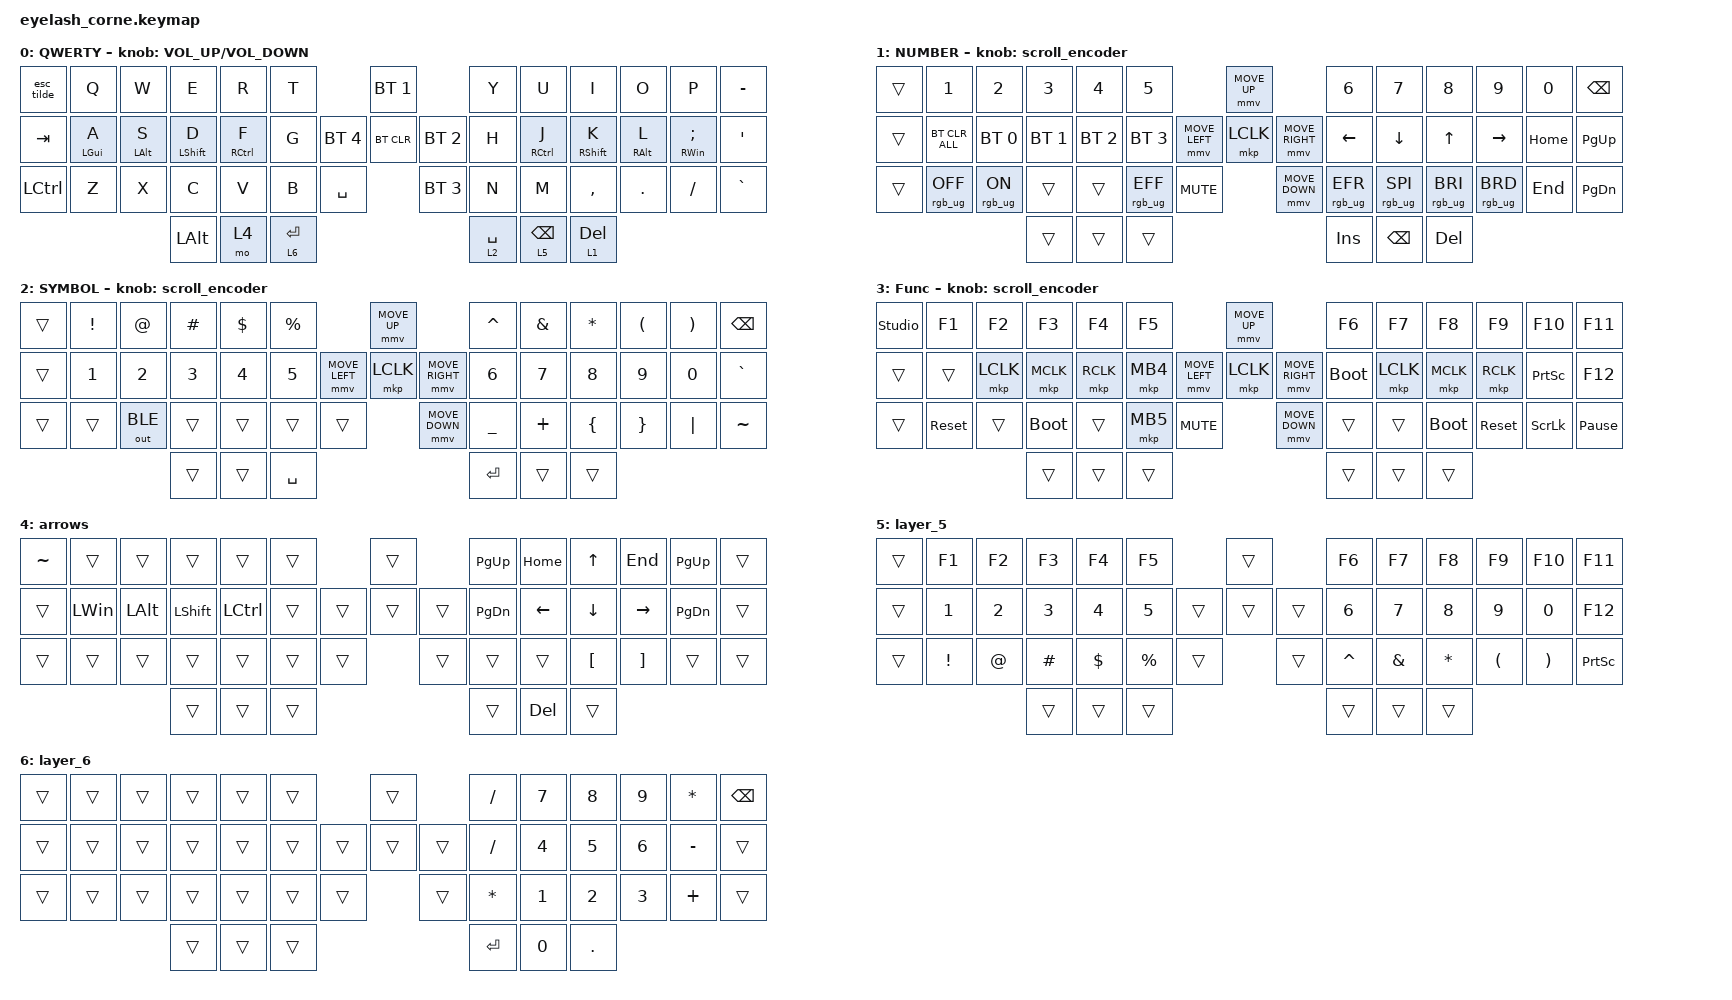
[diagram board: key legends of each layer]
#define ZMK_POINTING_DEFAULT_MOVE_VAL 1200  // 600
#define ZMK_POINTING_DEFAULT_SCRL_VAL 25   // 10

#include <input/processors.dtsi>
#include <zephyr/dt-bindings/input/input-event-codes.h>
#include <behaviors.dtsi>
#include <dt-bindings/zmk/bt.h>
#include <dt-bindings/zmk/keys.h>
#include <dt-bindings/zmk/outputs.h>
#include <dt-bindings/zmk/pointing.h>
#include <dt-bindings/zmk/rgb.h>

&mmv_input_listener { input-processors = <&zip_xy_scaler 2 1>; };

&msc_input_listener { input-processors = <&zip_scroll_scaler 2 1>; };

&msc {
    acceleration-exponent = <1>;      // 0
    time-to-max-speed-ms = <100>;       // 300
    delay-ms = <0>;                   // 0
};

&mmv {
    time-to-max-speed-ms = <500>;
    acceleration-exponent = <1>;
    trigger-period-ms = <16>;
};

/ {
    behaviors {
        SHIFTCAPS: SHIFTCAPS {
            compatible = "zmk,behavior-tap-dance";
            display-name = "Shift/Caps Lock Tap Dance";
            #binding-cells = <0>;
            bindings = <&kp LEFT_SHIFT>, <&kp CAPS>;

            label = "SHIFTCAPS";
        };

        HMR: HMR {
            compatible = "zmk,behavior-hold-tap";
            label = "HMR";
            bindings = <&kp>, <&kp>;

            #binding-cells = <2>;
            tapping-term-ms = <280>;
            quick-tap-ms = <175>;
            require-prior-idle-ms = <150>;
            flavor = "tap-preferred";
            hold-trigger-key-positions = <0 1 2 3 4 5 13 14 15 16 17 18 28 29 30 31 32 33 34 42 43 44 45 46 47>;
        };

        HML: HML {
            compatible = "zmk,behavior-hold-tap";
            label = "HML";
            bindings = <&kp>, <&kp>;

            #binding-cells = <2>;
            tapping-term-ms = <280>;
            quick-tap-ms = <175>;
            require-prior-idle-ms = <150>;
            flavor = "tap-preferred";
            hold-trigger-key-positions = <23 24 25 37 38 39 46 47 7 8 9 10 11 12 22 23 24 25 26 27 36 37 38 39 40 41 45 46 47>;
        };

        bspc_del: backspace_delete {
            compatible = "zmk,behavior-mod-morph";
            label = "BACKSPACE_DELETE";
            #binding-cells = <0>;
            bindings = <&kp BACKSPACE>, <&kp DELETE>;

            mods = <(MOD_LSFT|MOD_RSFT)>;
        };

        esc_tilde: escape_tilde {
            compatible = "zmk,behavior-mod-morph";
            label = "ESCAPE_TILDE";
            #binding-cells = <0>;
            bindings = <&kp ESCAPE>, <&kp TILDE>;

            mods = <(MOD_LSFT|MOD_RSFT)>;
        };
    };

    rgb_encoder: rgb_encoder {
        compatible = "zmk,behavior-sensor-rotate";
        #sensor-binding-cells = <0>;
        bindings = <&rgb_ug RGB_BRI>, <&rgb_ug RGB_BRD>;
    };

    scroll_encoder: scroll_encoder {
        compatible = "zmk,behavior-sensor-rotate";
        #sensor-binding-cells = <0>;
        bindings = <&msc SCRL_DOWN>, <&msc SCRL_UP>;

        tap-ms = <100>;
    };

    combos {
        compatible = "zmk,combos";

        gravetilde {
            bindings = <&kp GRAVE>;
            key-positions = <0 1>;
            require-prior-idle-ms = <150>;
        };

        lparen {
            bindings = <&kp LEFT_PARENTHESIS>;
            key-positions = <4 3>;
            require-prior-idle-ms = <150>;
        };

        lbrace {
            bindings = <&kp LEFT_BRACE>;
            key-positions = <4 5>;
            require-prior-idle-ms = <150>;
        };

        lbracket {
            bindings = <&kp LEFT_BRACKET>;
            key-positions = <31 32>;
            require-prior-idle-ms = <150>;
        };

        rparen {
            bindings = <&kp RIGHT_PARENTHESIS>;
            key-positions = <8 9>;
            require-prior-idle-ms = <150>;
        };

        rbrace {
            bindings = <&kp RIGHT_BRACE>;
            key-positions = <8 7>;
            require-prior-idle-ms = <150>;
        };

        rbracket {
            bindings = <&kp RIGHT_BRACKET>;
            key-positions = <37 38>;
            require-prior-idle-ms = <150>;
        };

        tildecombo {
            bindings = <&kp TILDE>;
            key-positions = <14 13>;
            require-prior-idle-ms = <150>;
        };

        combopipe {
            bindings = <&kp BACKSLASH>;
            key-positions = <26 27>;
            require-prior-idle-ms = <150>;
        };

        comboplusequals {
            bindings = <&kp EQUAL>;
            key-positions = <11 12>;
            require-prior-idle-ms = <150>;
        };

        alt_tab {
            bindings = <&kp LA(TAB)>;
            key-positions = <0 42>;
        };

        caps_word_combo {
            bindings = <&caps_word>;
            key-positions = <44 45>;
        };

        leftshiftbrace {
            bindings = <&kp LS(LEFT_BRACE)>;
            key-positions = <32 33>;
            require-prior-idle-ms = <150>;
        };

        rightshiftbrace {
            bindings = <&kp RS(RIGHT_BRACE)>;
            key-positions = <36 37>;
            require-prior-idle-ms = <150>;
        };

        printscree {
            bindings = <&kp PRINTSCREEN>;
            key-positions = <43 46>;
        };
    };

    keymap {
        compatible = "zmk,keymap";

        default_layer {
            display-name = "QWERTY";
            bindings = <
&esc_tilde        &kp Q            &kp W            &kp E              &kp R                 &kp T                                   &bt BT_SEL 1                &kp Y        &kp U                 &kp I               &kp O             &kp P                &kp MINUS
&kp TAB           &HML LEFT_GUI A  &HML LEFT_ALT S  &HML LEFT_SHIFT D  &HML RIGHT_CONTROL F  &kp G                     &bt BT_SEL 4  &bt BT_CLR    &bt BT_SEL 2  &kp H        &HMR RIGHT_CONTROL J  &HMR RIGHT_SHIFT K  &HMR RIGHT_ALT L  &HMR RIGHT_WIN SEMI  &kp SQT
&kp LEFT_CONTROL  &kp Z            &kp X            &kp C              &kp V                 &kp B        &kp SPACE                  &bt BT_SEL 3                &kp N        &kp M                 &kp COMMA           &kp DOT           &kp FSLH             &kp GRAVE
                                                    &kp LEFT_ALT       &mo 4                 &lt 6 ENTER                                                         &lt 2 SPACE  &lt 5 BACKSPACE       &lt 1 DELETE
            >;

            sensor-bindings = <&inc_dec_kp C_VOLUME_UP C_VOLUME_DOWN>;
        };

        lower_layer {
            display-name = "NUMBER";
            bindings = <
&trans  &kp N1           &kp N2          &kp N3        &kp N4        &kp N5                                         &mmv MOVE_UP                     &kp N6           &kp N7           &kp N8           &kp N9           &kp N0    &kp BSPC
&trans  &bt BT_CLR_ALL   &bt BT_SEL 0    &bt BT_SEL 1  &bt BT_SEL 2  &bt BT_SEL 3                   &mmv MOVE_LEFT  &mkp LCLK       &mmv MOVE_RIGHT  &kp LEFT         &kp DOWN         &kp UP           &kp RIGHT        &kp HOME  &kp PG_UP
&trans  &rgb_ug RGB_OFF  &rgb_ug RGB_ON  &trans        &trans        &rgb_ug RGB_EFF  &kp C_MUTE                    &mmv MOVE_DOWN                   &rgb_ug RGB_EFR  &rgb_ug RGB_SPI  &rgb_ug RGB_BRI  &rgb_ug RGB_BRD  &kp END   &kp PG_DN
                                         &trans        &trans        &trans                                                                          &kp INS          &kp BACKSPACE    &kp DELETE
            >;

            sensor-bindings = <&scroll_encoder>;
        };

        raise_layer {
            display-name = "SYMBOL";
            bindings = <
&trans  &kp EXCL      &kp AT        &kp HASH      &kp DLLR      &kp PRCNT                            &mmv MOVE_UP                     &kp CARET     &kp AMPS  &kp ASTRK  &kp LPAR  &kp RPAR  &kp BSPC
&trans  &kp NUMBER_1  &kp NUMBER_2  &kp NUMBER_3  &kp NUMBER_4  &kp N5               &mmv MOVE_LEFT  &mkp LCLK       &mmv MOVE_RIGHT  &kp NUMBER_6  &kp N7    &kp N8     &kp N9    &kp N0    &kp GRAVE
&trans  &trans        &out OUT_BLE  &trans        &trans        &trans     &trans                    &mmv MOVE_DOWN                   &kp UNDER     &kp PLUS  &kp LBRC   &kp RBRC  &kp PIPE  &kp TILDE
                                    &trans        &trans        &kp SPACE                                                             &kp RET       &trans    &trans
            >;

            sensor-bindings = <&scroll_encoder>;
        };

        layer_3 {
            display-name = "Func";
            bindings = <
&studio_unlock  &kp F1      &kp F2     &kp F3       &kp F4     &kp F5                                  &mmv MOVE_UP                     &kp F6       &kp F7     &kp F8       &kp F9      &kp F10          &kp F11
&trans          &trans      &mkp LCLK  &mkp MCLK    &mkp RCLK  &mkp MB4                &mmv MOVE_LEFT  &mkp LCLK       &mmv MOVE_RIGHT  &bootloader  &mkp LCLK  &mkp MCLK    &mkp RCLK   &kp PRINTSCREEN  &kp F12
&trans          &sys_reset  &trans     &bootloader  &trans     &mkp MB5  &kp C_MUTE                    &mmv MOVE_DOWN                   &trans       &trans     &bootloader  &sys_reset  &kp SCROLLLOCK   &kp PAUSE_BREAK
                                       &trans       &trans     &trans                                                                   &trans       &trans     &trans
            >;

            sensor-bindings = <&scroll_encoder>;
        };

        arrows {
            bindings = <
&kp TILDE  &trans        &trans        &trans      &trans            &trans                    &trans          &kp PAGE_UP    &kp HOME    &kp UP            &kp END            &kp PG_UP      &trans
&trans     &kp LEFT_WIN  &kp LEFT_ALT  &kp LSHIFT  &kp LEFT_CONTROL  &trans            &trans  &trans  &trans  &kp PAGE_DOWN  &kp LEFT    &kp DOWN          &kp RIGHT          &kp PAGE_DOWN  &trans
&trans     &trans        &trans        &trans      &trans            &trans  &trans            &trans          &trans         &trans      &kp LEFT_BRACKET  &kp RIGHT_BRACKET  &trans         &trans
                                       &trans      &trans            &trans                                    &trans         &kp DELETE  &trans
            >;
        };

        layer_5 {
            bindings = <
&trans  &kp F1           &kp F2        &kp F3        &kp F4        &kp F5                         &trans          &kp F6        &kp F7         &kp F8        &kp F9                &kp F10                &kp F11
&trans  &kp NUMBER_1     &kp NUMBER_2  &kp NUMBER_3  &kp NUMBER_4  &kp N5                 &trans  &trans  &trans  &kp NUMBER_6  &kp N7         &kp N8        &kp N9                &kp N0                 &kp F12
&trans  &kp EXCLAMATION  &kp AT_SIGN   &kp HASH      &kp DOLLAR    &kp PERCENT  &trans            &trans          &kp CARET     &kp AMPERSAND  &kp ASTERISK  &kp LEFT_PARENTHESIS  &kp RIGHT_PARENTHESIS  &kp PRINTSCREEN
                                       &trans        &trans        &trans                                         &trans        &trans         &trans
            >;
        };

        layer_6 {
            bindings = <
&trans  &trans  &trans  &trans  &trans  &trans                    &trans          &kp SLASH     &kp N7        &kp N8        &kp N9        &kp ASTERISK  &kp BACKSPACE
&trans  &trans  &trans  &trans  &trans  &trans            &trans  &trans  &trans  &kp SLASH     &kp NUMBER_4  &kp N5        &kp NUMBER_6  &kp MINUS     &trans
&trans  &trans  &trans  &trans  &trans  &trans  &trans            &trans          &kp ASTERISK  &kp NUMBER_1  &kp NUMBER_2  &kp NUMBER_3  &kp PLUS      &trans
                        &trans  &trans  &trans                                    &kp ENTER     &kp N0        &kp PERIOD
            >;
        };
    };
};
